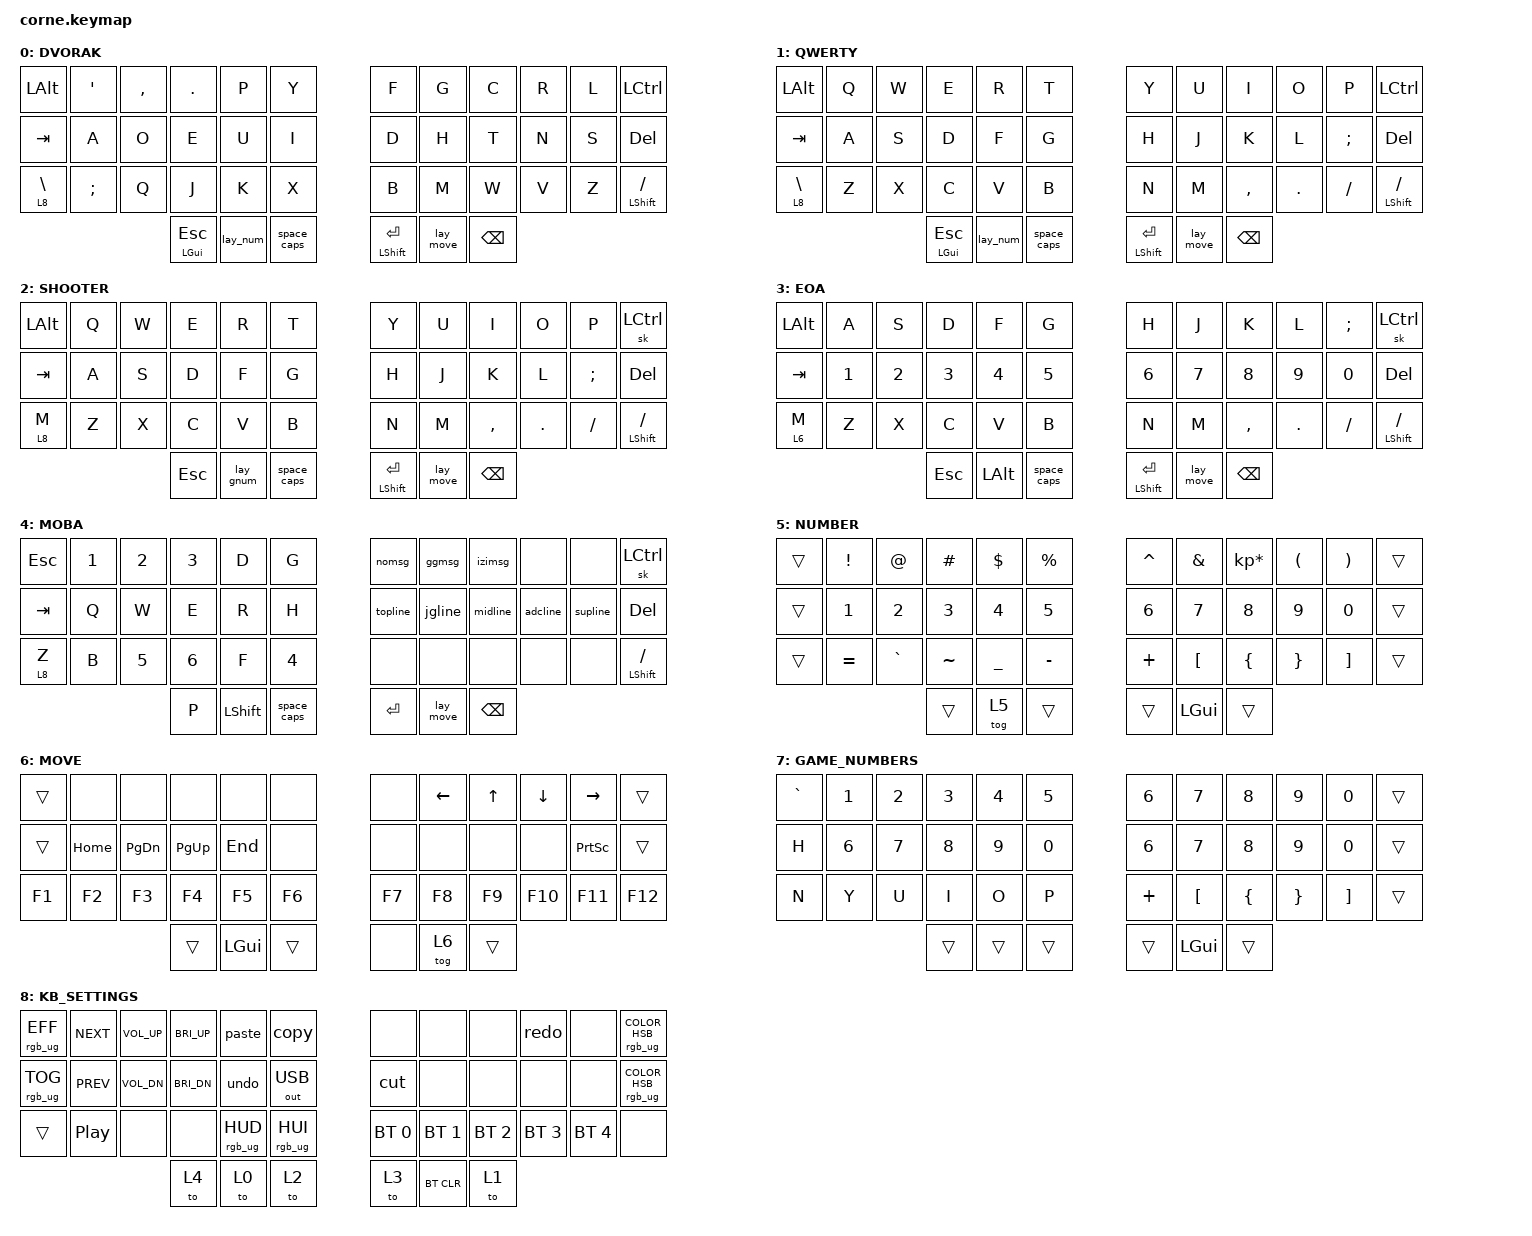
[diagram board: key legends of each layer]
/*
 * Copyright (c) 2020 The ZMK Contributors
 *
 * SPDX-License-Identifier: MIT
 */

#include <behaviors.dtsi>
#include <dt-bindings/zmk/bt.h>
#include <dt-bindings/zmk/keys.h>
#include <dt-bindings/zmk/outputs.h>
#include <dt-bindings/zmk/rgb.h>

#define DVORAK  0
#define SHOOTER 1
#define EOA     2
#define MOBA    3
#define NUMBER  4
#define MOVE    5
#define G_NUM   6
#define KB_SET  7
#define OS_SET  8

&mt {
    retro-tap;
};

/ {
    macros {
        paste: paste {
            compatible = "zmk,behavior-macro";
            label = "Paste Macro";
            #binding-cells = <0>;
            bindings =
                <&macro_press>,
                <&kp LCTRL>,
                <&macro_tap>,
                <&kp V>,
                <&macro_release>,
                <&kp LCTRL>;
        };

        copy: copy {
            compatible = "zmk,behavior-macro";
            label = "Copy Macro";
            #binding-cells = <0>;
            bindings =
                <&macro_press>,
                <&kp LCTRL>,
                <&macro_tap>,
                <&kp C>,
                <&macro_release>,
                <&kp LCTRL>;
        };

        cut: cut {
            compatible = "zmk,behavior-macro";
            label = "Cut Macro";
            #binding-cells = <0>;
            bindings =
                <&macro_press>,
                <&kp LCTRL>,
                <&macro_tap>,
                <&kp X>,
                <&macro_release>,
                <&kp LCTRL>;
        };

        undo: undo {
            compatible = "zmk,behavior-macro";
            label = "Undo Macro";
            #binding-cells = <0>;
            bindings =
                <&macro_press>,
                <&kp LCTRL>,
                <&macro_tap>,
                <&kp Z>,
                <&macro_release>,
                <&kp LCTRL>;
        };

        redo: redo {
            compatible = "zmk,behavior-macro";
            label = "Redo Macro";
            #binding-cells = <0>;
            bindings =
                <&macro_press>,
                <&kp LCTRL &kp LEFT_SHIFT>,
                <&macro_tap>,
                <&kp Z>,
                <&macro_release>,
                <&kp LEFT_SHIFT &kp LCTRL>;
        };

        topline: topline {
            compatible = "zmk,behavior-macro";
            label = "Top Macro";
            #binding-cells = <0>;
            tap-ms = <1>;
            wait-ms = <1>;
            bindings = <&macro_tap>, <&kp T &kp O &kp P &kp RET>;
        };

        jgline: jgline {
            compatible = "zmk,behavior-macro";
            label = "Jg Macro";
            #binding-cells = <0>;
            tap-ms = <1>;
            wait-ms = <1>;
            bindings = <&macro_tap>, <&kp J &kp G &kp RET>;
        };

        midline: midline {
            compatible = "zmk,behavior-macro";
            label = "Mid Macro";
            #binding-cells = <0>;
            tap-ms = <1>;
            wait-ms = <1>;
            bindings = <&macro_tap>, <&kp M &kp I &kp D &kp RET>;
        };

        adcline: adcline {
            compatible = "zmk,behavior-macro";
            label = "Adc Macro";
            #binding-cells = <0>;
            tap-ms = <1>;
            wait-ms = <1>;
            bindings = <&macro_tap>, <&kp A &kp D &kp C &kp RET>;
        };

        supline: supline {
            compatible = "zmk,behavior-macro";
            label = "Sup Macro";
            #binding-cells = <0>;
            tap-ms = <1>;
            wait-ms = <1>;
            bindings = <&macro_tap>, <&kp S &kp U &kp P &kp RET>;
        };

        nomsg: nomsg {
            compatible = "zmk,behavior-macro";
            label = "No Macro";
            #binding-cells = <0>;
            tap-ms = <1>;
            wait-ms = <1>;
            bindings = <&macro_tap>, <&kp N &kp O &kp SPACE>;
        };

        ggmsg: ggmsg {
            compatible = "zmk,behavior-macro";
            label = "GG Macro";
            #binding-cells = <0>;
            tap-ms = <1>;
            wait-ms = <1>;
            bindings = <&macro_tap>, <&kp G &kp G &kp SPACE>;
        };

        izimsg: izimsg {
            compatible = "zmk,behavior-macro";
            label = " Macro";
            #binding-cells = <0>;
            tap-ms = <1>;
            wait-ms = <1>;
            bindings = <&macro_tap>, <&kp I &kp Z &kp I &kp SPACE>;
        };
    };

    behaviors {
        lay_num: tap_dance_0 {
            compatible = "zmk,behavior-tap-dance";
            label = "TAP_DANCE_0";
            #binding-cells = <0>;
            tapping-term-ms = <200>;
            bindings = <&mo 5>, <&tog 5>;
        };

        lay_move: tap_dance_1 {
            compatible = "zmk,behavior-tap-dance";
            label = "TAP_DANCE_1";
            #binding-cells = <0>;
            tapping-term-ms = <200>;
            bindings = <&mo 6>, <&tog 6>;
        };

        lay_gnum: tap_dance_2 {
            compatible = "zmk,behavior-tap-dance";
            label = "TAP_DANCE_2";
            #binding-cells = <0>;
            tapping-term-ms = <200>;
            bindings = <&mo 7>, <&tog 7>;
        };

        space_caps: space_caps {
            compatible = "zmk,behavior-mod-morph";
            label = "SPACE_CAPS";
            #binding-cells = <0>;
            bindings = <&kp SPACE>, <&caps_word>;

            mods = <(MOD_LSFT)>;
        };
    };

    keymap {
        compatible = "zmk,keymap";

        DVORAK {
            bindings = <
&kp LALT    &kp SQT   &kp COMMA  &kp DOT       &kp P     &kp Y          &kp F          &kp G      &kp C     &kp R  &kp L  &kp LCTRL
&kp TAB     &kp A     &kp O      &kp E         &kp U     &kp I          &kp D          &kp H      &kp T     &kp N  &kp S  &kp DEL
&lt 8 BSLH  &kp SEMI  &kp Q      &kp J         &kp K     &kp X          &kp B          &kp M      &kp W     &kp V  &kp Z  &mt LSHFT SLASH
                                 &mt LGUI ESC  &lay_num  &space_caps    &mt LSHFT RET  &lay_move  &kp BSPC
            >;
        };

        QWERTY {
            bindings = <
&kp LALT    &kp Q  &kp W  &kp E         &kp R     &kp T          &kp Y             &kp U      &kp I      &kp O    &kp P     &kp LCTRL
&kp TAB     &kp A  &kp S  &kp D         &kp F     &kp G          &kp H             &kp J      &kp K      &kp L    &kp SEMI  &kp DEL
&lt 8 BSLH  &kp Z  &kp X  &kp C         &kp V     &kp B          &kp N             &kp M      &kp COMMA  &kp DOT  &kp FSLH  &mt LSHIFT SLASH
                          &mt LGUI ESC  &lay_num  &space_caps    &mt LSHIFT ENTER  &lay_move  &kp BSPC
            >;
        };

        SHOOTER {
            bindings = <
&kp LALT  &kp Q  &kp W  &kp E    &kp R      &kp T          &kp Y          &kp U      &kp I      &kp O    &kp P      &sk LCTRL
&kp TAB   &kp A  &kp S  &kp D    &kp F      &kp G          &kp H          &kp J      &kp K      &kp L    &kp SEMI   &kp DEL
&lt 8 M   &kp Z  &kp X  &kp C    &kp V      &kp B          &kp N          &kp M      &kp COMMA  &kp DOT  &kp SLASH  &mt LSHFT SLASH
                        &kp ESC  &lay_gnum  &space_caps    &mt LSHFT RET  &lay_move  &kp BSPC
            >;
        };

        EOA {
            bindings = <
&kp LALT  &kp A   &kp S   &kp D    &kp F     &kp G          &kp H          &kp J      &kp K      &kp L    &kp SEMI   &sk LCTRL
&kp TAB   &kp N1  &kp N2  &kp N3   &kp N4    &kp N5         &kp N6         &kp N7     &kp N8     &kp N9   &kp N0     &kp DEL
&lt 6 M   &kp Z   &kp X   &kp C    &kp V     &kp B          &kp N          &kp M      &kp COMMA  &kp DOT  &kp SLASH  &mt LSHFT SLASH
                          &kp ESC  &kp LALT  &space_caps    &mt LSHFT RET  &lay_move  &kp BSPC
            >;
        };

        MOBA {
            bindings = <
&kp ESC  &kp N1  &kp N2  &kp N3  &kp D      &kp G          &nomsg      &ggmsg     &izimsg   &none     &none     &sk LCTRL
&kp TAB  &kp Q   &kp W   &kp E   &kp R      &kp H          &topline    &jgline    &midline  &adcline  &supline  &kp DEL
&lt 8 Z  &kp B   &kp N5  &kp N6  &kp F      &kp N4         &none       &none      &none     &none     &none     &mt LSHFT SLASH
                         &kp P   &kp LSHFT  &space_caps    &kp RETURN  &lay_move  &kp BSPC
            >;
        };

        NUMBER {
            bindings = <
&trans  &kp EXCL   &kp AT     &kp HASH   &kp DLLR   &kp PRCNT    &kp CARET  &kp AMPS  &kp KP_MULTIPLY  &kp LPAR  &kp RPAR  &trans
&trans  &kp N1     &kp N2     &kp N3     &kp N4     &kp N5       &kp N6     &kp N7    &kp N8           &kp N9    &kp N0    &trans
&trans  &kp EQUAL  &kp GRAVE  &kp TILDE  &kp UNDER  &kp MINUS    &kp PLUS   &kp LBKT  &kp LBRC         &kp RBRC  &kp RBKT  &trans
                              &trans     &tog 5     &trans       &trans     &kp LGUI  &trans
            >;
        };

        MOVE {
            bindings = <
&trans  &none     &none      &none      &none     &none     &none   &kp LEFT  &kp UP  &kp DOWN  &kp RIGHT  &trans
&trans  &kp HOME  &kp PG_DN  &kp PG_UP  &kp END   &none     &none   &none     &none   &none     &kp PSCRN  &trans
&kp F1  &kp F2    &kp F3     &kp F4     &kp F5    &kp F6    &kp F7  &kp F8    &kp F9  &kp F10   &kp F11    &kp F12
                             &trans     &kp LGUI  &trans    &none   &tog 6    &trans
            >;
        };

        GAME_NUMBERS {
            bindings = <
&kp GRAVE  &kp N1  &kp N2  &kp N3  &kp N4  &kp N5    &kp N6    &kp N7    &kp N8    &kp N9    &kp N0    &trans
&kp H      &kp N6  &kp N7  &kp N8  &kp N9  &kp N0    &kp N6    &kp N7    &kp N8    &kp N9    &kp N0    &trans
&kp N      &kp Y   &kp U   &kp I   &kp O   &kp P     &kp PLUS  &kp LBKT  &kp LBRC  &kp RBRC  &kp RBKT  &trans
                           &trans  &trans  &trans    &trans    &kp LGUI  &trans
            >;
        };

        KB_SETTINGS {
            bindings = <
&rgb_ug RGB_EFF  &kp C_NEXT  &kp C_VOL_UP  &kp C_BRI_UP  &paste           &copy              &none         &none         &none         &redo         &none         &rgb_ug RGB_COLOR_HSB(51,100,50)
&rgb_ug RGB_TOG  &kp C_PREV  &kp C_VOL_DN  &kp C_BRI_DN  &undo            &out OUT_USB       &cut          &none         &none         &none         &none         &rgb_ug RGB_COLOR_HSB(190,100,50)
&trans           &kp C_PP    &none         &none         &rgb_ug RGB_HUD  &rgb_ug RGB_HUI    &bt BT_SEL 0  &bt BT_SEL 1  &bt BT_SEL 2  &bt BT_SEL 3  &bt BT_SEL 4  &none
                                           &to 4         &to 0            &to 2              &to 3         &bt BT_CLR    &to 1
            >;
        };
    };
};
